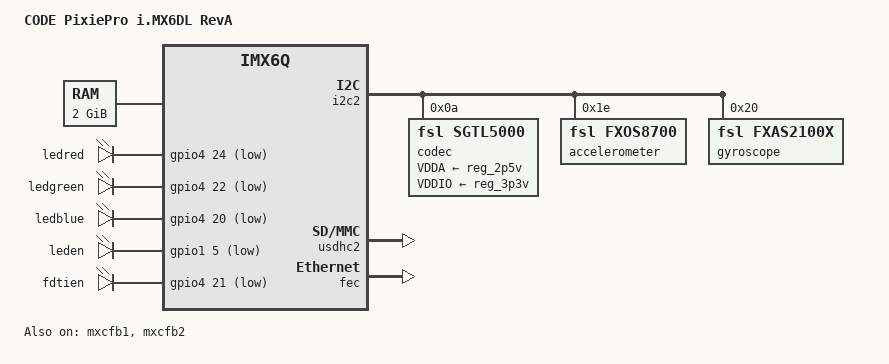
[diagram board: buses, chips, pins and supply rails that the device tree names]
/*
 * Copyright (C) 2013 Freescale Semiconductor, Inc.
 *
 * This program is free software; you can redistribute it and/or modify
 * it under the terms of the GNU General Public License version 2 as
 * published by the Free Software Foundation.
 */

/dts-v1/;

#include "imx6q.dtsi"
#include "imx6qdl-pixiepro.dtsi"

/ {
	model = "CODE PixiePro i.MX6DL RevA";
	compatible = "fsl,imx6q-pixiepro", "fsl,imx6q";

	memory {
		reg = <0x10000000 0x80000000>;
	};

	sound-sgtl5000 {
		compatible = "fsl,imx6-pixieboard-sgtl5000",
			     "fsl,imx-audio-sgtl5000";
		model = "imx6-pixieboard-sgtl5000";
		ssi-controller = <&ssi1>;
		audio-codec = <&codec>;
		audio-routing =
			"MIC_IN", "Mic Jack",
			"Mic Jack", "Mic Bias",
			"Headphone Jack", "HP_OUT";
		mux-int-port = <1>;
		mux-ext-port = <4>;
	};

	rgbleds {
		compatible = "gpio-leds";
		pinctrl-names = "default";
		pinctrl-0 = <&pinctrl_rgbled>;

		ledred: ledred {
			gpios = <&gpio4 24 GPIO_ACTIVE_LOW>;
			default-state = "off";
		};

		ledgreen: ledgreen {
			gpios = <&gpio4 22 GPIO_ACTIVE_LOW>;
			default-state = "off";
		};

		ledblue: ledblue {
			gpios = <&gpio4 20 GPIO_ACTIVE_LOW>;
			default-state = "off";
		};
		leden: leden {
			gpios = <&gpio1 5 GPIO_ACTIVE_LOW>;
			default-state = "off";
		};
		fdtien: ftdien {
			gpios = <&gpio4 21 GPIO_ACTIVE_LOW>;
			default-state = "off";
		};
	};

};

&iomuxc {
	pinctrl-names = "default";

	imx6qdl-pixiepro-router {

		pinctrl_router: routergrp {
			fsl,pins = <
				MX6QDL_PAD_DI0_DISP_CLK__GPIO4_IO16		0x80000000 //PHALANXRESET_A
				MX6QDL_PAD_DI0_PIN2__GPIO4_IO18			0x80000000 //PHALANXRESET_D
				MX6QDL_PAD_DI0_PIN3__GPIO4_IO19			0x80000000 //PHALANXRESET_B
				MX6QDL_PAD_DISP0_DAT4__GPIO4_IO25		0x80000000 //OVER_TEMP
				MX6QDL_PAD_DI0_PIN15__GPIO4_IO17		0x80000000 //PHALANXRESET_C
				MX6QDL_PAD_DI0_PIN15__GPIO4_IO17		0x80000000 //PHALANXRESET_E
				MX6QDL_PAD_DISP0_DAT8__GPIO4_IO29		0x80000000 //PHALANXRESET_F
				MX6QDL_PAD_DISP0_DAT2__GPIO4_IO23		0x80000000 //ENET_RST_PIXIE
				//MX6QDL_PAD_DISP0_DAT0__GPIO4_IO21		0x80000000 //!RESET_FTDI_A
				MX6QDL_PAD_DISP0_DAT6__GPIO4_IO27		0x80000000 //GPIO_INPUT_1
				MX6QDL_PAD_DISP0_DAT5__GPIO4_IO26		0x80000000 //!RESET_FTDI_B
				MX6QDL_PAD_DISP0_DAT7__GPIO4_IO28		0x80000000 //GPIO_INPUT_2
				MX6QDL_PAD_DISP0_DAT11__GPIO5_IO05		0x80000000 //GPIO_OUTPUT_1
				MX6QDL_PAD_DISP0_DAT9__GPIO4_IO30		0x80000000 //GPIO_INPUT_3
				MX6QDL_PAD_DISP0_DAT12__GPIO5_IO06		0x80000000 //GPIO_OUTPUT_2
				MX6QDL_PAD_DISP0_DAT15__GPIO5_IO09		0x80000000 //GPIO_INPUT_4
				MX6QDL_PAD_DISP0_DAT14__GPIO5_IO08		0x80000000 //GPIO_OUTPUT_3
				MX6QDL_PAD_DISP0_DAT10__GPIO4_IO31		0x80000000 //GPIO_BUTTON_1
				MX6QDL_PAD_DISP0_DAT17__GPIO5_IO11		0x80000000 //GPIO_OUTPUT_4
				MX6QDL_PAD_DISP0_DAT16__GPIO5_IO10		0x80000000 //GPIO_BUTTON_2
				//MX6QDL_PAD_GPIO_5__GPIO1_IO05			0x80000000 //LED_EN  


			>;
		};

		pinctrl_rgbled: rgbledgrp {
			fsl,pins = <

				MX6QDL_PAD_DISP0_DAT0__GPIO4_IO21		0x80000000 //!RESET_FTDI_A
				MX6QDL_PAD_DISP0_DAT3__GPIO4_IO24		0x80000000 //GPIO_LED_R
				MX6QDL_PAD_DISP0_DAT1__GPIO4_IO22		0x80000000 //GPIO_LED_G
				MX6QDL_PAD_DI0_PIN4__GPIO4_IO20			0x80000000 //GPIO_LED_B
				MX6QDL_PAD_GPIO_5__GPIO1_IO05			0x80000000 //LED_EN
//				MX6QDL_PAD_DISP0_DAT3__GPIO4_IO24		0x80000000 //GPIO_LED_R
//				MX6QDL_PAD_DISP0_DAT1__GPIO4_IO22		0x80000000 //GPIO_LED_G
//				MX6QDL_PAD_DI0_PIN4__GPIO4_IO20			0x80000000 //GPIO_LED_B

			>;
		};
	};
};

&i2c2 {
		
	codec: sgtl5000@0a {
	compatible = "fsl,sgtl5000";
	reg = <0x0a>;
	clocks = <&clks 201>;
	VDDA-supply = <&reg_2p5v>;
	VDDIO-supply = <&reg_3p3v>;
	};

	accelerometer: fxos8700@1e {
	compatible = "fsl,fxos8700";
	reg = <0x1e>;
   };

   	gyroscope: fxas2100x@20 {
	compatible = "fsl,fxas2100x";
	reg = <0x20>;
   };

};

&ldb {
	lvds-channel@0 {
		crtc = "ipu1-di0";
	};
	lvds-channel@1 {
		crtc = "ipu1-di1";
	};
};
&mxcfb1 {
	status = "okay";
};
&mxcfb2 {
	status = "okay";
};

&usdhc2 {
	status = "okay";
};

&fec {
	status = "okay";
};

&i2c3 {
	status = "disabled";
};
